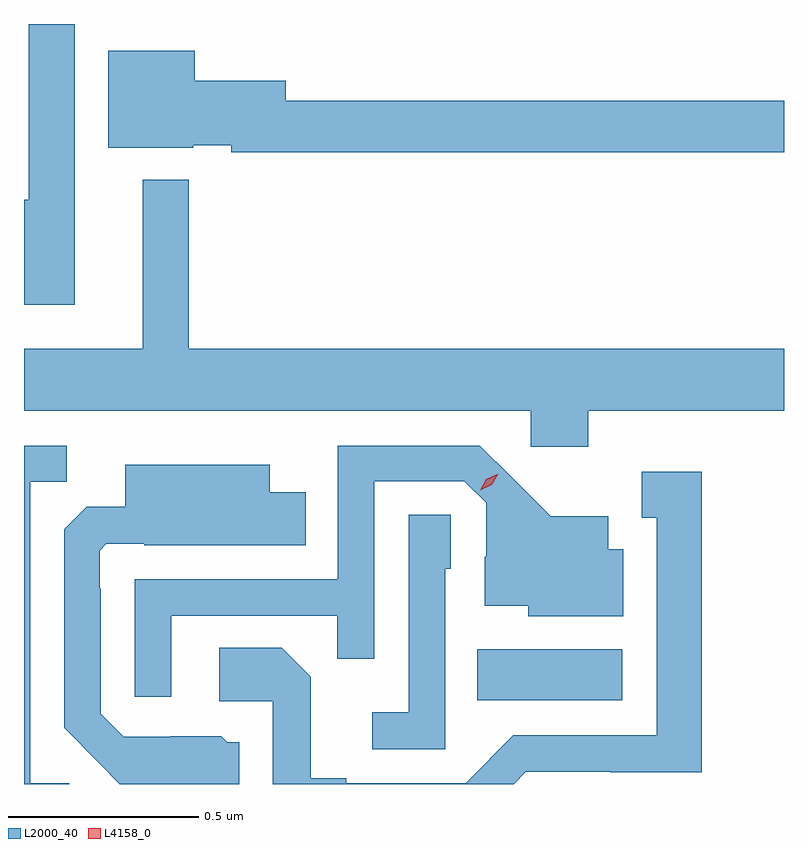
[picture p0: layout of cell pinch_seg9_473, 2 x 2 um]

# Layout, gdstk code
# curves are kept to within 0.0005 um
import gdstk
lib = gdstk.Library(unit=1e-6, precision=1e-09)
def R(c, l, rs):  # rectangles x0, y0, x1, y1
    for r in rs: c.add(gdstk.rectangle(r[:2], r[2:], *l))
def P(c, l, *ps):  # polygons
    for p in ps: c.add(gdstk.Polygon(p, *l))
L2000_40 = (2000, 40)
L4158_0 = (4158, 0)

pinch_seg9_473 = lib.new_cell('pinch_seg9_473')
R(pinch_seg9_473, L2000_40, [(259.69,1198.322,260.071,1198.456)])
P(pinch_seg9_473, L2000_40, [(258.631,1200.102),(258.51,1200.102),(258.51,1199.639),(258.497,1199.639),(258.497,1199.363),(258.631,1199.363)],
  [(260.497,1199.9),(259.186,1199.9),(259.186,1199.953),(258.946,1199.953),(258.946,1200.031),(258.719,1200.031),(258.719,1199.777),(258.942,1199.777),(258.942,1199.783),(259.042,1199.783),(259.042,1199.764),(260.497,1199.764)],
  [(259.982,1199.084),(260.497,1199.084),(260.497,1199.248),(258.931,1199.248),(258.931,1199.692),(258.809,1199.692),(258.809,1199.248),(258.497,1199.248),(258.497,1199.084),(259.83,1199.084),(259.83,1198.989),(259.982,1198.989)],
  [(258.616,1198.104),(258.513,1198.104),(258.513,1198.897),(258.609,1198.897),(258.609,1198.992),(258.497,1198.992),(258.497,1198.102),(258.616,1198.102)],
  [(258.885,1198.545),(259.321,1198.545),(259.321,1198.432),(259.419,1198.432),(259.419,1198.899),(259.656,1198.899),(259.713,1198.842),(259.713,1198.7),(259.709,1198.7),(259.709,1198.571),(259.824,1198.571),(259.824,1198.544),(260.074,1198.544),(260.074,1198.72),(260.035,1198.72),(260.035,1198.807),(259.883,1198.807),(259.696,1198.992),(259.323,1198.992),(259.323,1198.641),(258.789,1198.641),(258.789,1198.332),(258.885,1198.332)],
  [(259.063,1198.212),(259.032,1198.212),(259.016,1198.228),(258.882,1198.228),(258.882,1198.227),(258.759,1198.227),(258.699,1198.287),(258.699,1198.616),(258.696,1198.616),(258.696,1198.716),(258.714,1198.734),(258.814,1198.734),(258.814,1198.73),(259.238,1198.73),(259.238,1198.87),(259.144,1198.87),(259.144,1198.942),(258.764,1198.942),(258.764,1198.831),(258.662,1198.831),(258.603,1198.772),(258.603,1198.25),(258.749,1198.102),(259.063,1198.102)],
  [(259.818,1198.134),(260.04,1198.134),(260.04,1198.133),(260.281,1198.133),(260.281,1198.924),(260.123,1198.924),(260.123,1198.803),(260.162,1198.803),(260.162,1198.23),(259.785,1198.23),(259.659,1198.104),(259.345,1198.104),(259.345,1198.117),(259.251,1198.117),(259.251,1198.384),(259.175,1198.46),(259.011,1198.46),(259.011,1198.32),(259.152,1198.32),(259.152,1198.102),(259.786,1198.102)],
  [(259.605,1198.668),(259.62,1198.668),(259.62,1198.811),(259.509,1198.811),(259.509,1198.291),(259.413,1198.291),(259.413,1198.194),(259.605,1198.194)])
P(pinch_seg9_473, L4158_0, [(259.697,1198.875),(259.697,1198.875),(259.714,1198.904),(259.745,1198.919),(259.745,1198.919),(259.745,1198.919),(259.728,1198.89),(259.697,1198.875)])

lib.write_gds('pinch_seg9_473.gds')
